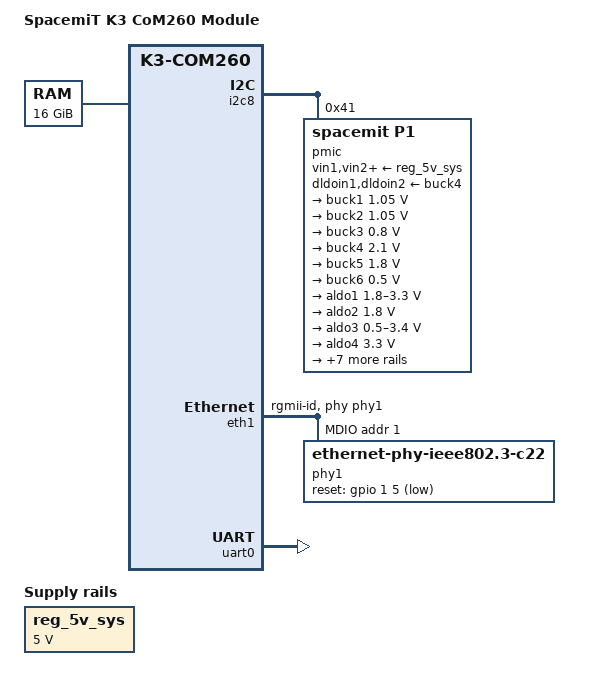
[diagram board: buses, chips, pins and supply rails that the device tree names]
// SPDX-License-Identifier: (GPL-2.0 OR MIT)
/*
 * Copyright (c) 2026 SpacemiT (Hangzhou) Technology Co. Ltd
 * Copyright (c) 2026 Yixun Lan <dlan@kernel.org>
 */
#include <dt-bindings/gpio/gpio.h>

#include "k3.dtsi"
#include "k3-pinctrl.dtsi"

/ {
	model = "SpacemiT K3 CoM260 Module";
	compatible = "spacemit,k3-com260", "spacemit,k3";

	memory@100000000 {
		device_type = "memory";
		reg = <0x1 0x00000000 0x4 0x00000000>;
	};

	reg_5v_sys: regulator-5v-sys {
		compatible = "regulator-fixed";
		regulator-name = "P5V0_SYS";
		regulator-min-microvolt = <5000000>;
		regulator-max-microvolt = <5000000>;
		regulator-always-on;
	};
};

&i2c8 {
	pinctrl-names = "default";
	pinctrl-0 = <&i2c8_cfg>;
	status = "okay";

	pmic@41 {
		compatible = "spacemit,p1";
		reg = <0x41>;
		interrupts = <64 IRQ_TYPE_LEVEL_HIGH>;
		vin1-supply = <&reg_5v_sys>;
		vin2-supply = <&reg_5v_sys>;
		vin3-supply = <&reg_5v_sys>;
		vin4-supply = <&reg_5v_sys>;
		vin5-supply = <&reg_5v_sys>;
		vin6-supply = <&reg_5v_sys>;
		aldoin-supply = <&reg_5v_sys>;
		dldoin1-supply = <&buck4>;
		dldoin2-supply = <&buck4>;

		regulators {
			buck1: buck1 {
				regulator-min-microvolt = <1050000>;
				regulator-max-microvolt = <1050000>;
				regulator-ramp-delay = <5000>;
				regulator-always-on;
			};

			buck2: buck2 {
				regulator-min-microvolt = <1050000>;
				regulator-max-microvolt = <1050000>;
				regulator-ramp-delay = <5000>;
				regulator-always-on;
			};

			buck3: buck3 {
				regulator-min-microvolt = <800000>;
				regulator-max-microvolt = <800000>;
				regulator-ramp-delay = <5000>;
				regulator-always-on;
			};

			buck4: buck4 {
				regulator-min-microvolt = <2100000>;
				regulator-max-microvolt = <2100000>;
				regulator-ramp-delay = <5000>;
				regulator-always-on;
			};

			buck5: buck5 {
				regulator-min-microvolt = <1800000>;
				regulator-max-microvolt = <1800000>;
				regulator-ramp-delay = <5000>;
				regulator-always-on;
			};

			buck6: buck6 {
				regulator-min-microvolt = <500000>;
				regulator-max-microvolt = <500000>;
				regulator-ramp-delay = <5000>;
				regulator-always-on;
			};

			aldo1: aldo1 {
				regulator-min-microvolt = <1800000>;
				regulator-max-microvolt = <3300000>;
				regulator-always-on;
				regulator-boot-on;
			};

			aldo2: aldo2 {
				regulator-min-microvolt = <1800000>;
				regulator-max-microvolt = <1800000>;
				regulator-always-on;
				regulator-boot-on;
			};

			aldo3: aldo3 {
				regulator-min-microvolt = <500000>;
				regulator-max-microvolt = <3400000>;
			};

			aldo4: aldo4 {
				regulator-min-microvolt = <3300000>;
				regulator-max-microvolt = <3300000>;
				regulator-always-on;
				regulator-boot-on;
			};

			dldo1: dldo1 {
				regulator-min-microvolt = <1200000>;
				regulator-max-microvolt = <1200000>;
				regulator-always-on;
				regulator-boot-on;
			};

			dldo2: dldo2 {
				regulator-min-microvolt = <900000>;
				regulator-max-microvolt = <900000>;
				regulator-always-on;
				regulator-boot-on;
			};

			dldo3: dldo3 {
				regulator-min-microvolt = <800000>;
				regulator-max-microvolt = <800000>;
				regulator-always-on;
				regulator-boot-on;
			};

			dldo4: dldo4 {
				regulator-min-microvolt = <1800000>;
				regulator-max-microvolt = <1800000>;
				regulator-boot-on;
			};

			dldo5: dldo5 {
				regulator-min-microvolt = <1800000>;
				regulator-max-microvolt = <1800000>;
				regulator-always-on;
				regulator-boot-on;
			};

			dldo6: dldo6 {
				regulator-min-microvolt = <1800000>;
				regulator-max-microvolt = <1800000>;
				regulator-always-on;
				regulator-boot-on;
			};

			dldo7: dldo7 {
				regulator-min-microvolt = <1800000>;
				regulator-max-microvolt = <1800000>;
				regulator-always-on;
				regulator-boot-on;
			};
		};
	};
};

&eth1 {
	pinctrl-names = "default";
	pinctrl-0 = <&gmac1_rgmii_0_cfg>, <&gmac1_phy_0_cfg>;
	phy-mode = "rgmii-id";
	phy-handle = <&phy1>;
	status = "okay";

	mdio {
		phy1: phy@1 {
			compatible = "ethernet-phy-ieee802.3-c22";
			reg = <1>;
			reset-gpios = <&gpio 1 5 GPIO_ACTIVE_LOW>;
			reset-assert-us = <10000>;
			reset-deassert-us = <10000>;
		};
	};
};

&uart0 {
	pinctrl-names = "default";
	pinctrl-0 = <&uart0_0_cfg>;
	status = "okay";
};
